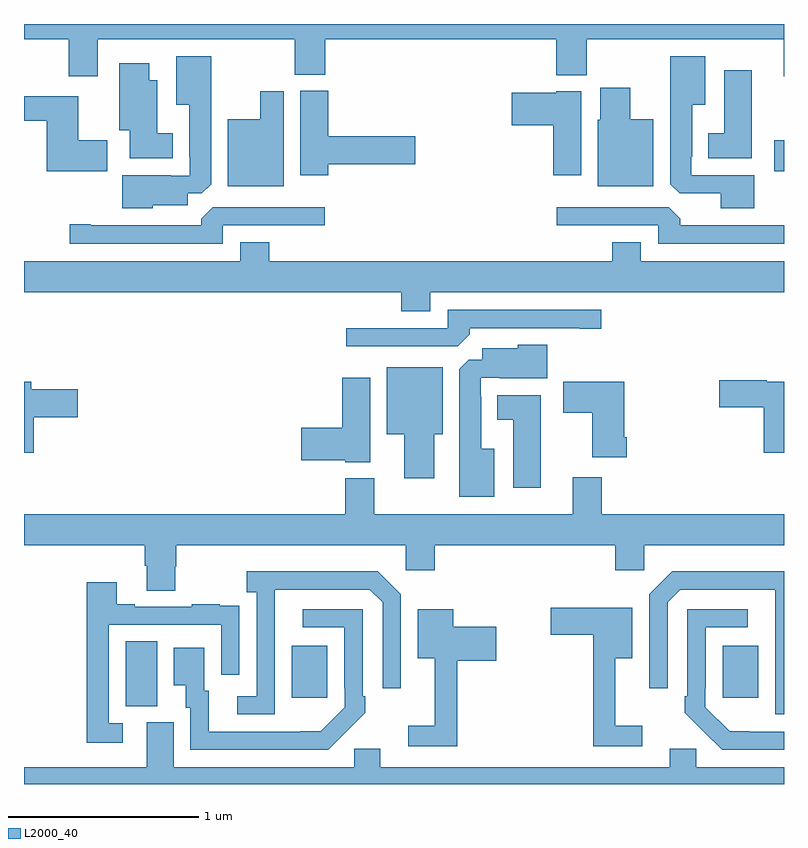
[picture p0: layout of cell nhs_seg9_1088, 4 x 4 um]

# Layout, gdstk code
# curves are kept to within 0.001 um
import gdstk
lib = gdstk.Library(unit=1e-6, precision=1e-09)
def R(c, l, rs):  # rectangles x0, y0, x1, y1
    for r in rs: c.add(gdstk.rectangle(r[:2], r[2:], *l))
def P(c, l, *ps):  # polygons
    for p in ps: c.add(gdstk.Polygon(p, *l))
L2000_40 = (2000, 40)

nhs_seg9_1088 = lib.new_cell('nhs_seg9_1088')
R(nhs_seg9_1088, L2000_40, [(171.536,1192.909,171.7,1193.252), (172.409,1192.953,172.597,1193.227), (174.677,1192.953,174.865,1193.227), (174.948,1195.724,175,1195.887)])
P(nhs_seg9_1088, L2000_40, [(171.388,1196.42),(172.426,1196.42),(172.426,1196.233),(172.586,1196.233),(172.586,1196.42),(173.801,1196.42),(173.801,1196.231),(173.961,1196.231),(173.961,1196.42),(174.998,1196.42),(174.998,1196.226),(175,1196.226),(175,1196.5),(171,1196.5),(171,1196.42),(171.236,1196.42),(171.236,1196.226),(171.388,1196.226)],
  [(171.678,1195.547),(171.862,1195.547),(171.862,1195.608),(171.936,1195.608),(171.985,1195.657),(171.985,1196.329),(171.8,1196.329),(171.8,1196.075),(171.869,1196.075),(171.869,1195.801),(171.873,1195.801),(171.873,1195.701),(171.773,1195.701),(171.773,1195.705),(171.518,1195.705),(171.518,1195.529),(171.678,1195.529)],
  [(174.844,1195.704),(174.513,1195.704),(174.513,1195.801),(174.517,1195.801),(174.517,1196.075),(174.586,1196.075),(174.586,1196.329),(174.401,1196.329),(174.401,1195.657),(174.45,1195.608),(174.668,1195.608),(174.668,1195.529),(174.844,1195.529)],
  [(171.784,1195.924),(171.7,1195.924),(171.7,1196.203),(171.658,1196.203),(171.658,1196.293),(171.5,1196.293),(171.5,1195.94),(171.557,1195.94),(171.557,1195.793),(171.784,1195.793)],
  [(174.829,1196.257),(174.686,1196.257),(174.686,1195.924),(174.602,1195.924),(174.602,1195.793),(174.829,1195.793)],
  [(174.313,1195.999),(174.19,1195.999),(174.19,1196.164),(174.032,1196.164),(174.032,1195.995),(174.02,1195.995),(174.02,1195.646),(174.313,1195.646)],
  [(172.601,1195.763),(173.059,1195.763),(173.059,1195.91),(172.601,1195.91),(172.601,1196.148),(172.454,1196.148),(172.454,1195.704),(172.601,1195.704)],
  [(173.932,1196.146),(173.802,1196.146),(173.802,1196.137),(173.568,1196.137),(173.568,1195.967),(173.786,1195.967),(173.786,1195.704),(173.932,1195.704)],
  [(172.366,1196.146),(172.244,1196.146),(172.244,1195.999),(172.073,1195.999),(172.073,1195.646),(172.366,1195.646)],
  [(171.439,1195.887),(171.286,1195.887),(171.286,1196.119),(171,1196.119),(171,1195.99),(171.119,1195.99),(171.119,1195.724),(171.439,1195.724)],
  [(172.047,1195.44),(172.582,1195.44),(172.582,1195.536),(171.993,1195.536),(171.932,1195.474),(171.932,1195.44),(171.352,1195.44),(171.352,1195.445),(171.24,1195.445),(171.24,1195.344),(172.047,1195.344)],
  [(175,1195.44),(174.455,1195.44),(174.455,1195.474),(174.393,1195.536),(173.805,1195.536),(173.805,1195.44),(174.339,1195.44),(174.339,1195.344),(175,1195.344)],
  [(173.137,1195.088),(175,1195.088),(175,1195.252),(174.247,1195.252),(174.247,1195.351),(174.095,1195.351),(174.095,1195.252),(172.292,1195.252),(172.292,1195.351),(172.139,1195.351),(172.139,1195.252),(171,1195.252),(171,1195.088),(172.985,1195.088),(172.985,1194.989),(173.137,1194.989)],
  [(173.345,1194.866),(173.345,1194.9),(173.924,1194.9),(173.924,1194.895),(174.037,1194.895),(174.037,1194.996),(173.229,1194.996),(173.229,1194.9),(172.695,1194.9),(172.695,1194.804),(173.283,1194.804)],
  [(173.476,1194.265),(173.407,1194.265),(173.407,1194.539),(173.403,1194.539),(173.403,1194.639),(173.503,1194.639),(173.503,1194.635),(173.755,1194.635),(173.755,1194.811),(173.598,1194.811),(173.598,1194.793),(173.411,1194.793),(173.411,1194.732),(173.34,1194.732),(173.291,1194.683),(173.291,1194.011),(173.476,1194.011)],
  [(173.158,1194.341),(173.203,1194.341),(173.203,1194.694),(172.91,1194.694),(172.91,1194.341),(173,1194.341),(173,1194.108),(173.158,1194.108)],
  [(172.822,1194.637),(172.676,1194.637),(172.676,1194.374),(172.458,1194.374),(172.458,1194.203),(172.692,1194.203),(172.692,1194.194),(172.822,1194.194)],
  [(175,1194.616),(174.909,1194.616),(174.909,1194.624),(174.66,1194.624),(174.66,1194.482),(174.893,1194.482),(174.893,1194.243),(175,1194.243)],
  [(171.05,1194.431),(171.283,1194.431),(171.283,1194.578),(171.037,1194.578),(171.037,1194.616),(171,1194.616),(171,1194.243),(171.05,1194.243)],
  [(174.173,1194.325),(174.16,1194.325),(174.16,1194.616),(173.838,1194.616),(173.838,1194.454),(173.99,1194.454),(173.99,1194.221),(174.173,1194.221)],
  [(173.719,1194.547),(173.492,1194.547),(173.492,1194.416),(173.576,1194.416),(173.576,1194.059),(173.719,1194.059)],
  [(171.795,1193.643),(171.8,1193.643),(171.8,1193.756),(173.01,1193.756),(173.01,1193.625),(173.162,1193.625),(173.162,1193.756),(174.113,1193.756),(174.113,1193.625),(174.264,1193.625),(174.264,1193.756),(175,1193.756),(175,1193.92),(174.041,1193.92),(174.041,1194.115),(173.888,1194.115),(173.888,1193.92),(172.843,1193.92),(172.843,1194.109),(172.691,1194.109),(172.691,1193.92),(171,1193.92),(171,1193.756),(171.635,1193.756),(171.635,1193.65),(171.647,1193.65),(171.647,1193.518),(171.795,1193.518)],
  [(175,1193.62),(174.412,1193.62),(174.291,1193.499),(174.291,1193.004),(174.387,1193.004),(174.387,1193.457),(174.453,1193.523),(174.953,1193.523),(174.953,1193.323),(174.954,1193.323),(174.954,1192.866),(175,1192.866)],
  [(172.32,1193.323),(172.321,1193.523),(172.821,1193.523),(172.887,1193.457),(172.887,1193.004),(172.983,1193.004),(172.983,1193.499),(172.862,1193.62),(172.173,1193.62),(172.173,1193.51),(172.224,1193.51),(172.224,1192.962),(172.122,1192.962),(172.122,1192.866),(172.32,1192.866)],
  [(171.52,1192.821),(171.447,1192.821),(171.447,1193.337),(172.038,1193.337),(172.038,1193.076),(172.134,1193.076),(172.134,1193.33),(172.133,1193.33),(172.133,1193.439),(172.031,1193.439),(172.031,1193.446),(171.883,1193.446),(171.883,1193.433),(171.583,1193.433),(171.583,1193.446),(171.487,1193.446),(171.487,1193.563),(171.331,1193.563),(171.331,1192.716),(171.52,1192.716)],
  [(174.253,1192.807),(174.113,1192.807),(174.113,1193.162),(174.202,1193.162),(174.202,1193.427),(173.772,1193.427),(173.772,1193.285),(173.995,1193.285),(173.995,1192.698),(174.253,1192.698)],
  [(172.691,1192.771),(172.692,1192.77),(172.797,1192.875),(172.797,1192.963),(172.782,1192.963),(172.782,1193.421),(172.467,1193.421),(172.467,1193.325),(172.686,1193.325),(172.686,1193.005),(172.689,1193.005),(172.689,1192.905),(172.561,1192.777),(171.973,1192.776),(171.973,1192.992),(171.949,1192.992),(171.949,1193.218),(171.788,1193.218),(171.788,1193.021),(171.851,1193.021),(171.851,1192.902),(171.876,1192.902),(171.876,1192.68),(172.6,1192.68)],
  [(175,1192.776),(174.714,1192.777),(174.585,1192.905),(174.585,1193.005),(174.588,1193.005),(174.588,1193.325),(174.808,1193.325),(174.808,1193.421),(174.492,1193.421),(174.492,1192.963),(174.477,1192.963),(174.477,1192.875),(174.674,1192.68),(175,1192.68)],
  [(173.279,1193.15),(173.485,1193.15),(173.485,1193.328),(173.26,1193.328),(173.26,1193.419),(173.072,1193.419),(173.072,1193.162),(173.162,1193.162),(173.162,1192.807),(173.022,1192.807),(173.022,1192.698),(173.279,1192.698)],
  [(175,1192.588),(174.537,1192.588),(174.537,1192.686),(174.398,1192.686),(174.398,1192.588),(172.876,1192.588),(172.876,1192.686),(172.737,1192.686),(172.737,1192.588),(171.787,1192.588),(171.787,1192.824),(171.647,1192.824),(171.647,1192.588),(171,1192.588),(171,1192.5),(175,1192.5)])

lib.write_gds('nhs_seg9_1088.gds')
